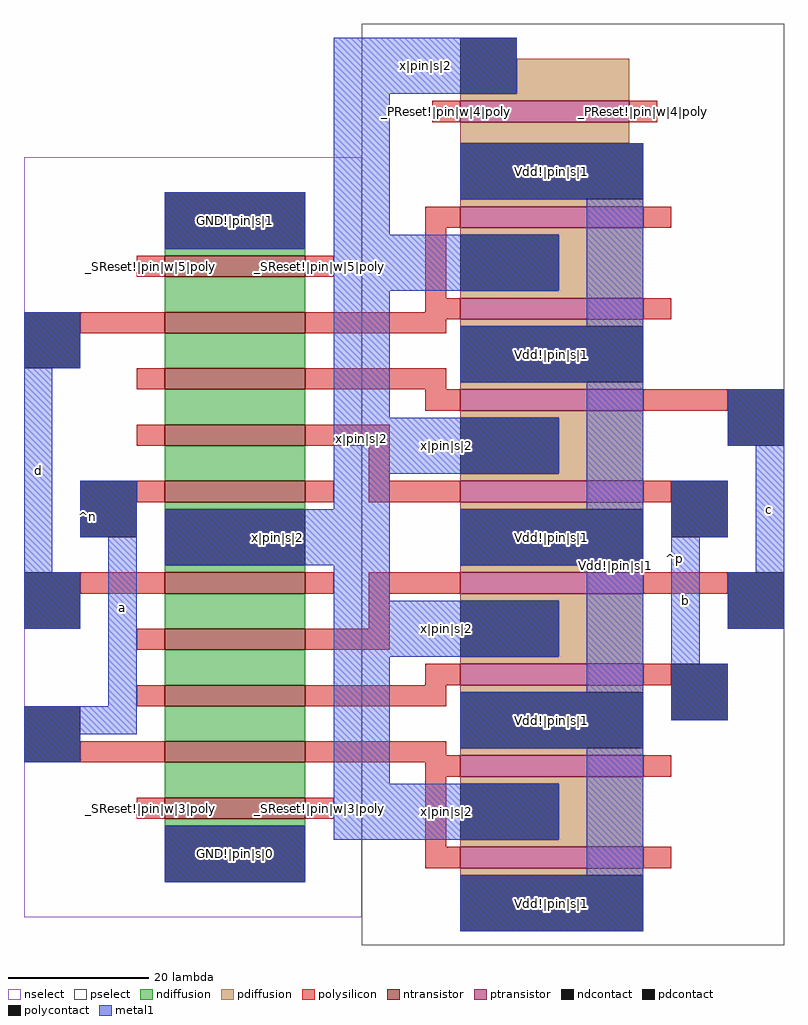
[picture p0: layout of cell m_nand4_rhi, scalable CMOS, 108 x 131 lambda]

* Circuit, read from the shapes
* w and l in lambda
.subckt m_nand4_rhi GND!|pin|s|0 GND!|pin|s|1 Vdd!|pin|s|1 _PReset!|pin|w|4|poly _SReset!|pin|w|3|poly _SReset!|pin|w|5|poly a b c d x|pin|s|2
M1 n1 _SReset!|pin|w|3|poly GND!|pin|s|0 VSUBS nfet w=20 l=3
M2 n2 a n1 VSUBS nfet w=20 l=3
M3 n3 b n2 VSUBS nfet w=20 l=3
M4 n4 c n3 VSUBS nfet w=20 l=3
M5 x|pin|s|2 d n4 VSUBS nfet w=20 l=3
M6 n5 a x|pin|s|2 VSUBS nfet w=20 l=3
M7 n6 b n5 VSUBS nfet w=20 l=3
M8 n7 c n6 VSUBS nfet w=20 l=3
M9 n8 d n7 VSUBS nfet w=20 l=3
M10 GND!|pin|s|1 _SReset!|pin|w|5|poly n8 VSUBS nfet w=20 l=3
M11 x|pin|s|2 a Vdd!|pin|s|1 NWELL pfet w=26 l=3 m=2
M12 x|pin|s|2 b Vdd!|pin|s|1 NWELL pfet w=26 l=3 m=2
M13 Vdd!|pin|s|1 c x|pin|s|2 NWELL pfet w=26 l=3 m=2
M14 x|pin|s|2 d Vdd!|pin|s|1 NWELL pfet w=26 l=3 m=2
M15 x|pin|s|2 _PReset!|pin|w|4|poly Vdd!|pin|s|1 NWELL pfet w=24 l=3
.ends

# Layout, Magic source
magic
tech scmos
<< nselect >>
rect -48 -818 0 -710
<< pselect >>
rect 0 -822 60 -691
<< ndiffusion >>
rect -28 -724 -8 -723
rect -28 -732 -8 -727
rect -28 -740 -8 -735
rect -28 -748 -8 -743
rect -28 -756 -8 -751
rect -28 -760 -8 -759
rect -28 -769 -8 -768
rect -28 -777 -8 -772
rect -28 -785 -8 -780
rect -28 -793 -8 -788
rect -28 -801 -8 -796
rect -28 -805 -8 -804
<< pdiffusion >>
rect 22 -701 38 -696
rect 14 -702 38 -701
rect 14 -708 38 -705
rect 14 -717 40 -716
rect 14 -721 40 -720
rect 28 -729 40 -721
rect 14 -730 40 -729
rect 14 -734 40 -733
rect 14 -743 40 -742
rect 14 -747 40 -746
rect 28 -755 40 -747
rect 14 -756 40 -755
rect 14 -760 40 -759
rect 14 -769 40 -768
rect 14 -773 40 -772
rect 28 -781 40 -773
rect 14 -782 40 -781
rect 14 -786 40 -785
rect 14 -795 40 -794
rect 14 -799 40 -798
rect 28 -807 40 -799
rect 14 -808 40 -807
rect 14 -812 40 -811
<< ntransistor >>
rect -28 -727 -8 -724
rect -28 -735 -8 -732
rect -28 -743 -8 -740
rect -28 -751 -8 -748
rect -28 -759 -8 -756
rect -28 -772 -8 -769
rect -28 -780 -8 -777
rect -28 -788 -8 -785
rect -28 -796 -8 -793
rect -28 -804 -8 -801
<< ptransistor >>
rect 14 -705 38 -702
rect 14 -720 40 -717
rect 14 -733 40 -730
rect 14 -746 40 -743
rect 14 -759 40 -756
rect 14 -772 40 -769
rect 14 -785 40 -782
rect 14 -798 40 -795
rect 14 -811 40 -808
<< polysilicon >>
rect 10 -705 14 -702
rect 38 -705 42 -702
rect 9 -720 14 -717
rect 40 -720 44 -717
rect -32 -727 -28 -724
rect -8 -727 -4 -724
rect 9 -730 12 -720
rect 9 -732 14 -730
rect -40 -735 -28 -732
rect -8 -733 14 -732
rect 40 -733 44 -730
rect -8 -735 12 -733
rect -32 -743 -28 -740
rect -8 -743 12 -740
rect 9 -746 14 -743
rect 40 -746 52 -743
rect -32 -751 -28 -748
rect -8 -751 4 -748
rect 1 -756 4 -751
rect -32 -759 -28 -756
rect -8 -759 -4 -756
rect 1 -759 14 -756
rect 40 -759 44 -756
rect -40 -772 -28 -769
rect -8 -772 -4 -769
rect 1 -772 14 -769
rect 40 -772 52 -769
rect 1 -777 4 -772
rect -32 -780 -28 -777
rect -8 -780 4 -777
rect 9 -785 14 -782
rect 40 -785 44 -782
rect -32 -788 -28 -785
rect -8 -788 12 -785
rect -40 -796 -28 -793
rect -8 -795 12 -793
rect -8 -796 14 -795
rect 9 -798 14 -796
rect 40 -798 44 -795
rect -32 -804 -28 -801
rect -8 -804 -4 -801
rect 9 -808 12 -798
rect 9 -811 14 -808
rect 40 -811 44 -808
<< ndcontact >>
rect -28 -723 -8 -715
rect -28 -768 -8 -760
rect -28 -813 -8 -805
<< pdcontact >>
rect 14 -701 22 -693
rect 14 -716 40 -708
rect 14 -729 28 -721
rect 14 -742 40 -734
rect 14 -755 28 -747
rect 14 -768 40 -760
rect 14 -781 28 -773
rect 14 -794 40 -786
rect 14 -807 28 -799
rect 14 -820 40 -812
<< polycontact >>
rect -48 -740 -40 -732
rect 52 -751 60 -743
rect -40 -764 -32 -756
rect 44 -764 52 -756
rect -48 -777 -40 -769
rect 52 -777 60 -769
rect -48 -796 -40 -788
rect 44 -790 52 -782
<< metal1 >>
rect -4 -701 22 -693
rect -28 -723 -8 -715
rect -4 -721 4 -701
rect 14 -716 40 -708
rect -4 -729 28 -721
rect -48 -740 -40 -732
rect -48 -769 -44 -740
rect -4 -747 4 -729
rect 32 -734 40 -716
rect 14 -742 40 -734
rect -4 -755 28 -747
rect -40 -764 -32 -756
rect -4 -760 4 -755
rect 32 -760 40 -742
rect 52 -751 60 -743
rect -48 -777 -40 -769
rect -36 -788 -32 -764
rect -28 -768 4 -760
rect 14 -768 40 -760
rect -48 -792 -32 -788
rect -4 -773 4 -768
rect -4 -781 28 -773
rect -48 -796 -40 -792
rect -4 -799 4 -781
rect 32 -786 40 -768
rect 14 -794 40 -786
rect 44 -764 52 -756
rect 44 -782 48 -764
rect 56 -769 60 -751
rect 52 -777 60 -769
rect 44 -790 52 -782
rect -28 -813 -8 -805
rect -4 -807 28 -799
rect 32 -812 40 -794
rect 14 -820 40 -812
<< labels >>
rlabel space -50 -821 -28 -701 7 ^n
rlabel metal1 44 -790 48 -756 1 b
rlabel metal1 56 -777 60 -743 7 c
rlabel space 28 -822 61 -712 3 ^p
rlabel metal1 -28 -813 -8 -805 1 GND!|pin|s|0
rlabel metal1 14 -742 40 -734 1 Vdd!|pin|s|1
rlabel metal1 14 -794 40 -786 1 Vdd!|pin|s|1
rlabel metal1 -4 -807 4 -693 1 x|pin|s|2
rlabel metal1 -4 -701 22 -693 1 x|pin|s|2
rlabel metal1 -4 -755 28 -747 1 x|pin|s|2
rlabel metal1 -4 -781 28 -773 1 x|pin|s|2
rlabel metal1 -28 -768 4 -760 1 x|pin|s|2
rlabel metal1 -4 -807 28 -799 1 x|pin|s|2
rlabel polysilicon -32 -804 -28 -801 1 _SReset!|pin|w|3|poly
rlabel polysilicon -8 -804 -4 -801 1 _SReset!|pin|w|3|poly
rlabel polysilicon 38 -705 42 -702 1 _PReset!|pin|w|4|poly
rlabel polysilicon 10 -705 14 -702 1 _PReset!|pin|w|4|poly
rlabel polysilicon -32 -727 -28 -724 1 _SReset!|pin|w|5|poly
rlabel polysilicon -8 -727 -4 -724 1 _SReset!|pin|w|5|poly
rlabel metal1 32 -820 40 -716 1 Vdd!|pin|s|1
rlabel metal1 14 -716 40 -708 1 Vdd!|pin|s|1
rlabel metal1 14 -768 40 -760 1 Vdd!|pin|s|1
rlabel metal1 14 -820 40 -812 1 Vdd!|pin|s|1
rlabel metal1 -28 -723 -8 -715 1 GND!|pin|s|1
rlabel metal1 -36 -792 -32 -756 1 a
rlabel metal1 -48 -777 -44 -732 3 d
<< end >>
